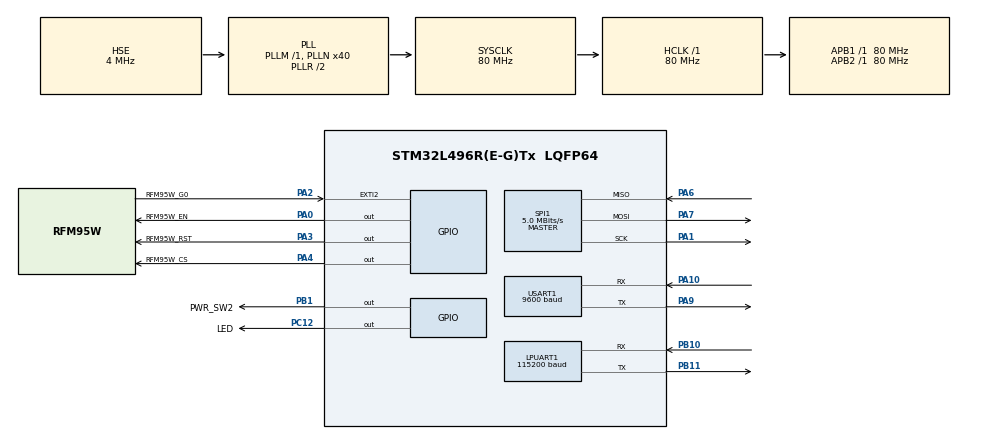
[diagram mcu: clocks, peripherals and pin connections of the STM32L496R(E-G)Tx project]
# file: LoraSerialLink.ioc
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LPUART1.BaudRate=115200
LPUART1.WordLength=UART_WORDLENGTH_8B
Mcu.Family=STM32L4
Mcu.Name=STM32L496R(E-G)Tx
Mcu.Package=LQFP64
NVIC.EXTI2_IRQn=true\:0\:0\:false\:false\:true\:true\:true\:true
NVIC.LPUART1_IRQn=true\:0\:0\:false\:false\:true\:true\:true\:true
NVIC.PriorityGroup=NVIC_PRIORITYGROUP_4
NVIC.TIM1_BRK_TIM15_IRQn=true\:0\:0\:false\:false\:true\:true\:true\:true
NVIC.TIM1_UP_TIM16_IRQn=true\:0\:0\:false\:false\:true\:true\:true\:true
NVIC.USART1_IRQn=true\:0\:0\:false\:false\:true\:true\:true\:true
PA0.GPIO_Label=RFM95W_EN
PA0.GPIO_ModeDefaultOutputPP=GPIO_MODE_OUTPUT_PP
PA0.GPIO_PuPd=GPIO_NOPULL
PA0.PinState=GPIO_PIN_SET
PA0.Signal=GPIO_Output
PA1.Mode=Full_Duplex_Master
PA1.Signal=SPI1_SCK
PA10.Mode=Asynchronous
PA10.Signal=USART1_RX
PA2.GPIO_Label=RFM95W_G0
PA2.Signal=GPXTI2
PA3.GPIO_Label=RFM95W_RST
PA3.Signal=GPIO_Output
PA4.GPIO_Label=RFM95W_CS
PA4.PinState=GPIO_PIN_SET
PA4.Signal=GPIO_Output
PA6.Mode=Full_Duplex_Master
PA6.Signal=SPI1_MISO
PA7.Mode=Full_Duplex_Master
PA7.Signal=SPI1_MOSI
PA9.Mode=Asynchronous
PA9.Signal=USART1_TX
PB1.GPIO_Label=PWR_SW2
PB1.PinState=GPIO_PIN_SET
PB1.Signal=GPIO_Output
PB10.Mode=Asynchronous
PB10.Signal=LPUART1_RX
PB11.Mode=Asynchronous
PB11.Signal=LPUART1_TX
PC12.GPIO_Label=LED
PC12.Signal=GPIO_Output
PC14-OSC32_IN\ (PC14).Mode=LSE-External-Oscillator
PC14-OSC32_IN\ (PC14).Signal=RCC_OSC32_IN
PC15-OSC32_OUT\ (PC15).Mode=LSE-External-Oscillator
PC15-OSC32_OUT\ (PC15).Signal=RCC_OSC32_OUT
PH0-OSC_IN\ (PH0).Mode=HSE-External-Oscillator
PH0-OSC_IN\ (PH0).Signal=RCC_OSC_IN
PH1-OSC_OUT\ (PH1).Mode=HSE-External-Oscillator
PH1-OSC_OUT\ (PH1).Signal=RCC_OSC_OUT
ProjectManager.HeapSize=0x200
ProjectManager.StackSize=0x400
ProjectManager.TargetToolchain=STM32CubeIDE
RCC.ADCFreq_Value=16000000
RCC.AHBFreq_Value=80000000
RCC.APB1Freq_Value=80000000
RCC.APB1TimFreq_Value=80000000
RCC.APB2Freq_Value=80000000
RCC.APB2TimFreq_Value=80000000
RCC.CortexFreq_Value=80000000
RCC.HCLKFreq_Value=80000000
RCC.HSE_VALUE=4000000
RCC.HSI48_VALUE=48000000
RCC.HSI_VALUE=16000000
RCC.MSI_VALUE=4000000
RCC.PLLN=40
RCC.PLLSourceVirtual=RCC_PLLSOURCE_HSE
RCC.RTCClockSelection=RCC_RTCCLKSOURCE_LSE
RCC.SYSCLKFreq_VALUE=80000000
RCC.SYSCLKSource=RCC_SYSCLKSOURCE_PLLCLK
RCC.USBFreq_Value=16000000
RCC.VCOOutputFreq_Value=160000000
SPI1.BaudRatePrescaler=SPI_BAUDRATEPRESCALER_16
SPI1.CalculateBaudRate=5.0 MBits/s
SPI1.DataSize=SPI_DATASIZE_8BIT
SPI1.Direction=SPI_DIRECTION_2LINES
SPI1.Mode=SPI_MODE_MASTER
SPI1.VirtualType=VM_MASTER
TIM15.Period=4000-1
TIM15.Prescaler=10000
TIM16.Period=16-1
TIM16.Prescaler=5000
USART1.BaudRate=9600
USART1.VirtualMode-Asynchronous=VM_ASYNC
VP_TIM15_VS_ClockSourceINT.Mode=Internal
VP_TIM16_VS_ClockSourceINT.Mode=Enable_Timer
board=custom

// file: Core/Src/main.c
/* USER CODE BEGIN Header */
/**
  ******************************************************************************
  * @file           : main.c
  * @brief          : Main program body
  ******************************************************************************
  * @attention
  *
  * Copyright (c) 2025 STMicroelectronics.
  * All rights reserved.
  *
  * This software is licensed under terms that can be found in the LICENSE file
  * in the root directory of this software component.
  * If no LICENSE file comes with this software, it is provided AS-IS.
  *
  ******************************************************************************
  */
/* USER CODE END Header */
#include "main.h"
#include "usart.h"
#include "spi.h"
#include "tim.h"
#include "gpio.h"

/* USER CODE BEGIN Includes */
#include <stdint.h>
#include <stdio.h>
#include <string.h>
#include "dbg_output.h"
#include "rfm95w.h"
#include "fifo_uint8.h"

/* USER CODE END Includes */

/* USER CODE BEGIN PTD */

/* Definition of the LoRa Packet Structures */
typedef struct lora_packet_header_t_
{
	uint8_t destination_address;
	uint8_t source_address;
	uint8_t sequence_number;
	uint8_t ctrl_and_retry_count;
} lora_packet_header_t;

#define LORA_PACKET_MAX_PAYLOAD	(250U)

typedef struct lora_packet_t_
{
	lora_packet_header_t header;
	uint8_t payload[LORA_PACKET_MAX_PAYLOAD];
	uint32_t payload_length;
} lora_packet_t;

/* USER CODE END PTD */

/* USER CODE BEGIN PM */
#define MAIN_STRING_BUFFER_MAXLEN	(1024)

#define UART_FIFO_BUFFER_SIZE	(2048U)
/* USER CODE END PM */

/* USER CODE BEGIN PV */
static uint8_t g_main_string_buffer[MAIN_STRING_BUFFER_MAXLEN] = {0U}; /* Buffer for formatted strings */
static uint32_t g_main_string_buffer_length = 0U;

static volatile uint32_t g_main_half_second_counter = 0U; /*!< Counter incremented by TIM15 callback at 2Hz */
static volatile uint64_t g_main_millisecond_counter = 0U; /*!< Counter incremented by TIM16 callback at 1kHz */

/* UART Transmit Variables */
static volatile fifo_uint8_state_t g_uart_transmit_fifo = {0};
static volatile uint8_t g_uart_transmit_fifo_buffer[UART_FIFO_BUFFER_SIZE] = {0};
static volatile uint8_t g_uart_transmit_fifo_in_process = 0;

/* UART Receive Variables */
static volatile fifo_uint8_state_t g_uart_receive_fifo = {0};
static volatile uint8_t g_uart_receive_fifo_buffer[UART_FIFO_BUFFER_SIZE] = {0};
static volatile uint8_t g_uart_receive_fifo_in_process = 0;
static volatile uint8_t g_main_serial_byte_to_receive = 0;
static volatile uint64_t g_main_last_received_serial_byte_time_ms = 0;

/* Lora packet variables*/
static lora_packet_t g_lora_packet_to_transmit = {0};
static lora_packet_t g_lora_packet_received = {0};
static uint64_t g_lora_packet_transmit_serial_timeout = 200; // 200ms

static uint8_t g_lora_source_address = 0; // Set these manually for now
static uint8_t g_lora_destination_address = 255; // Set these manually for now
static uint8_t g_lora_broadcast_address = 255;

static uint8_t g_lora_sequence_number = 0;
/* USER CODE END PV */

void SystemClock_Config(void);

int main(void)
{

  /* MCU Configuration--------------------------------------------------------*/

  /* Reset of all peripherals, Initializes the Flash interface and the Systick. */
  HAL_Init();

  /* Configure the system clock */
  SystemClock_Config();

  /* Initialize all configured peripherals */
  MX_GPIO_Init();
  MX_TIM15_Init();
  MX_SPI1_Init();
  MX_USART1_UART_Init();
  MX_LPUART1_UART_Init();
  MX_TIM16_Init();
  /* USER CODE BEGIN 2 */
  HAL_GPIO_WritePin(LED_GPIO_Port, LED_Pin, 1U); // Light the LED

  HAL_TIM_Base_Start_IT(&htim15); // Start the timer TIM15 which will toggle the LED
  HAL_TIM_Base_Start_IT(&htim16); // Start the timer TIM16 for ms counter

  dbg_output_init(&hlpuart1); // Initialise the debug stream using LPUART1

  // Initialise the UART FIFOs
  fifo_uint8_init(&g_uart_transmit_fifo, UART_FIFO_BUFFER_SIZE, g_uart_transmit_fifo_buffer);
  fifo_uint8_init(&g_uart_receive_fifo, UART_FIFO_BUFFER_SIZE, g_uart_receive_fifo_buffer);

  // Send Message To Debug UART
  dbg_output_write_str("HelloWorld\r\n");

  //g_main_string_buffer_length = sprintf(&g_main_string_buffer[0], "HelloWorld\r\n");
  //HAL_UART_Transmit(&huart1, g_main_string_buffer, g_main_string_buffer_length, 100);

  // Initialise the RFM95W
  rfm95w_init(&hspi1);

  // Send Test Packet

  //g_main_string_buffer_length = sprintf(&g_main_string_buffer[0], "HelloWorld\r\n");
  //rfm95w_transmit_packet(g_main_string_buffer_length, &g_main_string_buffer[0]);

  // start listening
  rfm95w_listen_for_packets();

  // Start the UART1 Serial listening for incoming bytes
  HAL_UART_Receive_IT(&huart1, &g_main_serial_byte_to_receive, 1);
  g_uart_receive_fifo_in_process = 1;

  // Initialise the header in the packet for transmitting
  g_lora_packet_to_transmit.header.source_address = g_lora_source_address;
  g_lora_packet_to_transmit.header.destination_address = g_lora_destination_address;
  g_lora_packet_to_transmit.header.sequence_number = g_lora_sequence_number;
  g_lora_sequence_number++; // increment for the next packet

  /*
  // Send test packet
  g_lora_packet_to_transmit.payload[0] = 'H';
  g_lora_packet_to_transmit.payload[1] = 'i';
  g_lora_packet_to_transmit.payload[2] = 'H';
  g_lora_packet_to_transmit.payload[3] = 'i';
  g_lora_packet_to_transmit.payload[4] = '\r';
  g_lora_packet_to_transmit.payload[5] = '\n';
  g_lora_packet_to_transmit.payload_length = 6;

  rfm95w_transmit_packet(sizeof(lora_packet_header_t) + g_lora_packet_to_transmit.payload_length, &g_lora_packet_to_transmit);
  /*

  /* USER CODE END 2 */

  /* Infinite loop */
  /* USER CODE BEGIN WHILE */
  while (1)
  {

	  // 1
	  // Check for Received packet flag
	  if (rfm95w_is_packet_received() == 1)
	  {
		  // Get the received packet into the packet structure (set the payload length)
		  uint32_t packet_received_length = 0;
		  rfm95w_get_received_packet(sizeof(lora_packet_t), &g_lora_packet_received, &packet_received_length);

		  // clear the received packet flag
		  rfm95w_clear_is_packet_received();

		  // Check it is a valid lora packet
		  if (packet_received_length > 0)
		  {
			  // Set the payload length field
			  g_lora_packet_received.payload_length = packet_received_length - sizeof(lora_packet_header_t);

			  // check the received packet header - our address or broadcast address
			  if ((g_lora_packet_received.header.destination_address == g_lora_source_address) ||
					  (g_lora_packet_received.header.destination_address == g_lora_broadcast_address) )
			  {
				// If is for us then put the payload bytes into the serial transmit fifo
				for (uint32_t idx = 0; idx < g_lora_packet_received.payload_length; idx++)
				{
					fifo_uint8_write_one(&g_uart_transmit_fifo, g_lora_packet_received.payload[idx]);
				}
				  // if serial transmit is not currently in progress then kick it off
				if (g_uart_transmit_fifo_in_process == 0)
				{
					// Send the next byte
					uint8_t next_byte = 0;
					fifo_uint8_read_one(&g_uart_transmit_fifo, &next_byte);
					HAL_UART_Transmit_IT(&huart1, &next_byte, 1);
					g_uart_transmit_fifo_in_process = 1;
				}
			  }
		  }
	  }

	  //2
	  // Check for serial bytes in the receive fifo
	  while (fifo_uint8_is_empty(&g_uart_receive_fifo) == 0)
	  {
		  // take each byte and add into current transmit packet payload
		  uint8_t next_byte = 0;
		  fifo_uint8_read_one(&g_uart_receive_fifo, &next_byte);

		  g_lora_packet_to_transmit.payload[g_lora_packet_to_transmit.payload_length] = next_byte;
		  g_lora_packet_to_transmit.payload_length++;

		  // if we have reached the max payload length then transmit the packet and then clear the structures and start afresh
		  if (g_lora_packet_to_transmit.payload_length >= LORA_PACKET_MAX_PAYLOAD)
		  {
			  rfm95w_transmit_packet(sizeof(lora_packet_header_t) + g_lora_packet_to_transmit.payload_length, &g_lora_packet_to_transmit);

			  // Clear and start the packet again
			  g_lora_packet_to_transmit.payload_length = 0;
			  g_lora_packet_to_transmit.header.source_address = g_lora_source_address;
			  g_lora_packet_to_transmit.header.destination_address = g_lora_destination_address;
			  g_lora_packet_to_transmit.header.sequence_number = g_lora_sequence_number;
			  g_lora_sequence_number++; // increment for the next packet
		  }
	  }

	  // 3
	  // Check for timeout since last serial byte received.
	  if (g_main_millisecond_counter >= (g_main_last_received_serial_byte_time_ms + g_lora_packet_transmit_serial_timeout))
	  {
		  // If we currently have a packet being assembled for transmission then transmit the packet and then clear the structures and start afresh
		  if (g_lora_packet_to_transmit.payload_length > 0)
		  {
			  rfm95w_transmit_packet(sizeof(lora_packet_header_t) + g_lora_packet_to_transmit.payload_length, &g_lora_packet_to_transmit);

			  // Clear and start the packet again
			  g_lora_packet_to_transmit.payload_length = 0;
			  g_lora_packet_to_transmit.header.source_address = g_lora_source_address;
			  g_lora_packet_to_transmit.header.destination_address = g_lora_destination_address;
			  g_lora_packet_to_transmit.header.sequence_number = g_lora_sequence_number;
			  g_lora_sequence_number++; // increment for the next packet
		  }
	  }

    /* USER CODE END WHILE */

  }
}

void SystemClock_Config(void)
{
  RCC_OscInitTypeDef RCC_OscInitStruct = {0};
  RCC_ClkInitTypeDef RCC_ClkInitStruct = {0};

  /** Configure the main internal regulator output voltage
  */
  if (HAL_PWREx_ControlVoltageScaling(PWR_REGULATOR_VOLTAGE_SCALE1) != HAL_OK)
  {
    Error_Handler();
  }

  /** Initializes the RCC Oscillators according to the specified parameters
  * in the RCC_OscInitTypeDef structure.
  */
  RCC_OscInitStruct.OscillatorType = RCC_OSCILLATORTYPE_HSE;
  RCC_OscInitStruct.HSEState = RCC_HSE_ON;
  RCC_OscInitStruct.PLL.PLLState = RCC_PLL_ON;
  RCC_OscInitStruct.PLL.PLLSource = RCC_PLLSOURCE_HSE;
  RCC_OscInitStruct.PLL.PLLM = 1;
  RCC_OscInitStruct.PLL.PLLN = 40;
  RCC_OscInitStruct.PLL.PLLP = RCC_PLLP_DIV2;
  RCC_OscInitStruct.PLL.PLLQ = RCC_PLLQ_DIV2;
  RCC_OscInitStruct.PLL.PLLR = RCC_PLLR_DIV2;
  if (HAL_RCC_OscConfig(&RCC_OscInitStruct) != HAL_OK)
  {
    Error_Handler();
  }

  /** Initializes the CPU, AHB and APB buses clocks
  */
  RCC_ClkInitStruct.ClockType = RCC_CLOCKTYPE_HCLK|RCC_CLOCKTYPE_SYSCLK
                              |RCC_CLOCKTYPE_PCLK1|RCC_CLOCKTYPE_PCLK2;
  RCC_ClkInitStruct.SYSCLKSource = RCC_SYSCLKSOURCE_PLLCLK;
  RCC_ClkInitStruct.AHBCLKDivider = RCC_SYSCLK_DIV1;
  RCC_ClkInitStruct.APB1CLKDivider = RCC_HCLK_DIV1;
  RCC_ClkInitStruct.APB2CLKDivider = RCC_HCLK_DIV1;

  if (HAL_RCC_ClockConfig(&RCC_ClkInitStruct, FLASH_LATENCY_4) != HAL_OK)
  {
    Error_Handler();
  }
}

/* USER CODE BEGIN 4 */

/**
  * @brief  Period elapsed callback in non-blocking mode
  * @param  htim TIM handle
  * @retval None
  */
void HAL_TIM_PeriodElapsedCallback(TIM_HandleTypeDef *htim)
{
	if (htim->Instance == TIM15)
	{
		g_main_half_second_counter++; // Increment the 2Hz counter
		HAL_GPIO_TogglePin(LED_GPIO_Port, LED_Pin);
	}

	if (htim->Instance == TIM16)
	{
		g_main_millisecond_counter++; // Increment the counter
	}
}

/**
  * @brief  EXTI line detection callback.
  * @param  GPIO_Pin Specifies the port pin connected to corresponding EXTI line.
  * @retval None
  */
void HAL_GPIO_EXTI_Callback(uint16_t GPIO_Pin)
{
	if (GPIO_Pin == RFM95W_G0_GPIO_PIN)
	{
		// Interrupt from RFM95W
		rfm95w_process_interrupt();
	}
}

/**
  * @brief Tx Transfer completed callback.
  * @param huart UART handle.
  * @retval None
  */
void HAL_UART_TxCpltCallback(UART_HandleTypeDef *huart)
{
	// Debug Serial
	if (huart->Instance == LPUART1)
	{
		dbg_output_process_on_interrupt();
	}

	// Main Serial
	if (huart->Instance == USART1)
	{
		// Check transmit fifo to continue transmissions
		if (fifo_uint8_is_empty(&g_uart_transmit_fifo) == 1)
		{
			// Transmission complete as fifo is empty
			g_uart_transmit_fifo_in_process = 0;
		}
		else
		{
			// Send the next byte
			uint8_t next_byte = 0;
			fifo_uint8_read_one(&g_uart_transmit_fifo, &next_byte);
			HAL_UART_Transmit_IT(&huart1, &next_byte, 1);
			g_uart_transmit_fifo_in_process = 1;
		}
	}
}

/**
  * @brief  Rx Transfer completed callback.
  * @param  huart UART handle.
  * @retval None
  */
void HAL_UART_RxCpltCallback(UART_HandleTypeDef *huart)
{
	if (huart->Instance == USART1)
	{
		// just received data into g_main_serial_byte_to_receive
		// put into fifo so it can be processed by the main loop to construc a lora packet to transmit.
		fifo_uint8_write_one(&g_uart_receive_fifo, g_main_serial_byte_to_receive);

		// last byte received at:
		g_main_last_received_serial_byte_time_ms = g_main_millisecond_counter;

		// Start another receive
		HAL_UART_Receive_IT(&huart1, &g_main_serial_byte_to_receive, 1);
		g_uart_receive_fifo_in_process = 1;
	}
}

/* USER CODE END 4 */

void Error_Handler(void)
{
  __disable_irq();
  while (1)
  {
  }
}
